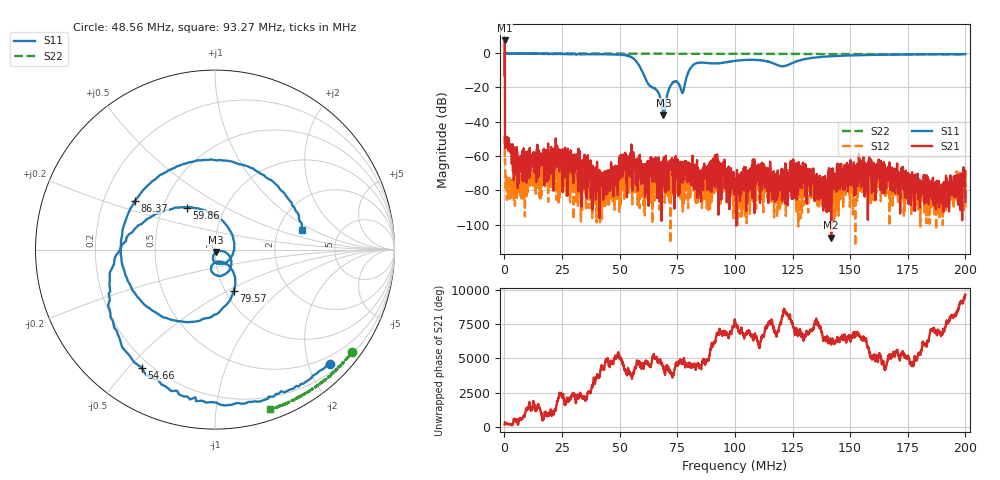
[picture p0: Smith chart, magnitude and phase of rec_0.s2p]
! 27-Aug-26 2:41:41 PM
! E:\20260827_VNA\REC_0.S2P
! CHANNEL.1
! TR.MEASUREMENT
! CORRECTED.DATA
# GHZ S RI R 50.0
! FREQ.GHZ  S11RE  S11IM  S21RE  S21IM  S12RE  S12IM  S22RE  S22IM
!; PortSelection: Port_12
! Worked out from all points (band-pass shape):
!   2000 points, 50 kHz to 200 MHz, reference 50 ohm
!   highest |S21| = 7.28 dB at 150 kHz (marker M1); lowest = -107.7 dB at 141.8 MHz (marker M2)
!   |S21| within 3 dB of the highest: 135.4 kHz to 154.8 kHz (19.44 kHz wide, 13.4 % of centre)
!   lowest |S11| = -36.3 dB at 68.97 MHz (marker M3), VSWR 1.03, Z = 50.4 - j1.47 ohm
!   |S11| at or under -10 dB: 59.52 MHz to 80.22 MHz (20.7 MHz wide, 29.6 % of centre)
!   |S22| runs from -0.9 to 0.1 dB; largest |S21 - S12| = 2.3
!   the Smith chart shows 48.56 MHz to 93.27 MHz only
!   S11 on the Smith chart (normalised r, x): 48.56 MHz: 0.35, -2.38; 54.66 MHz: 0.17, -0.54; 59.86 MHz: 0.66, +0.34; 79.57 MHz: 1.09, -0.54; 86.37 MHz: 0.34, +0.25; 93.27 MHz: 2.72, +0.81
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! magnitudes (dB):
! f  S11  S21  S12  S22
! 50 kHz  -8.1  -13.2  -48.2  -0.1
! 150 kHz  -0.7  7.3  -62.9  0.1
! 1.25 MHz  -0.4  -53.1  -79.7  -0.1
! 6.652 MHz  -0.4  -67.9  -79.9  -0.3
! 23.16 MHz  -0.6  -60.0  -71.3  -0.3
! 33.46 MHz  -0.7  -62.9  -70.1  -0.4
! 40.86 MHz  -0.7  -72.7  -86.6  -0.4
! 48.56 MHz  -0.9  -68.7  -85.2  -0.4
! 54.66 MHz  -2.2  -61.1  -78.1  -0.4
! 59.86 MHz  -11.0  -65.5  -72.9  -0.4
! 66.77 MHz  -23.1  -75.1  -85.2  -0.4
! 68.97 MHz  -36.3  -70.6  -73.9  -0.5
! 72.57 MHz  -18.0  -68.3  -82.9  -0.5
! 77.27 MHz  -23.4  -75.7  -80.7  -0.5
! 79.57 MHz  -11.9  -70.5  -73.8  -0.5
! 86.37 MHz  -5.6  -67.0  -73.3  -0.5
! 93.27 MHz  -6.0  -65.0  -71.6  -0.5
! 100.1 MHz  -4.6  -74.9  -79.4  -0.5
! 133.4 MHz  -2.9  -74.4  -75.4  -0.6
! 141.8 MHz  -1.9  -107.7  -85.2  -0.6
! 166.7 MHz  -1.0  -66.0  -69.3  -0.7
! 200 MHz  -0.7  -86.8  -90.0  -0.8
